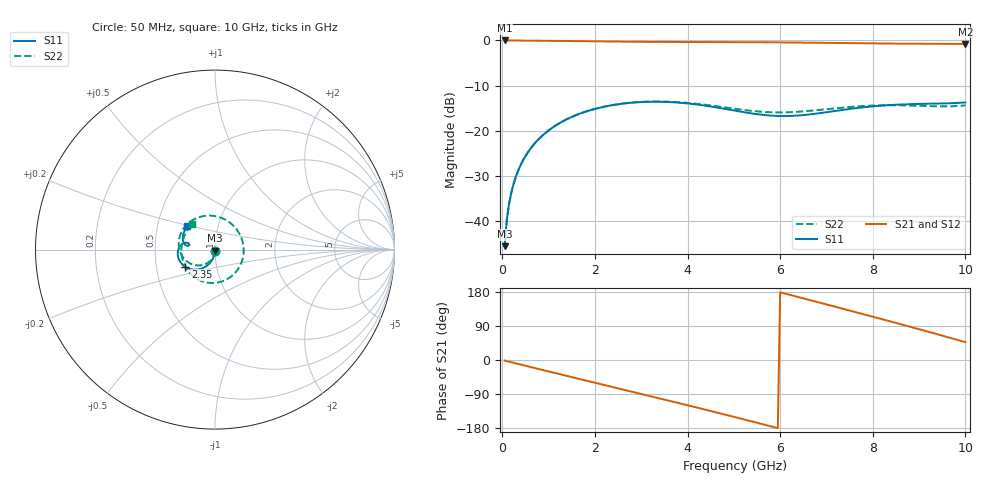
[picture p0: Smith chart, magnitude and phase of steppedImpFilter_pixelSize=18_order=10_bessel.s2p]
! freq	dB(S11)	phase(S11)	dB(S12)	phase(S12)
!  dB(S21)	phase(S21)	dB(S22)	phase(S22)
!S-par simulation data
#  GHz  S  DB  R 50
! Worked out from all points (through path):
!   200 points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, 50 MHz to 10 GHz, reference 50 ohm
!   highest |S21| = 0.00 dB at 50 MHz (marker M1); lowest = -0.8 dB at 10 GHz (marker M2)
!   group delay of S21, straight-line fit = 86.4 ps
!   lowest |S11| = -45.6 dB at 50 MHz (marker M3), VSWR 1.01, Z = 50 - j0.527 ohm
!   |S11| at or under -10 dB: start of sweep to end of sweep
!   |S22| runs from -45.4 to -13.5 dB; largest |S21 - S12| = 0
!   S11 on the Smith chart (normalised r, x): 50 MHz: 1.00, -0.01; 2.35 GHz: 0.70, -0.14; 10 GHz: 0.71, +0.20
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0.05  -45.56 -91.3  -0.00 -1.5  -0.00 -1.5  -45.44 -91.7
0.1  -39.51 -92.8  -0.01 -3.1  -0.01 -3.1  -39.46 -93.7
0.15  -35.98 -94.2  -0.01 -4.6  -0.01 -4.6  -35.96 -95.5
0.2  -33.48 -95.5  -0.01 -6.1  -0.01 -6.1  -33.48 -97.2
0.35  -28.65 -99.5  -0.02 -10.6  -0.02 -10.6  -28.67 -102.4
0.5  -25.61 -103.5  -0.03 -15.2  -0.03 -15.2  -25.63 -107.7
0.7  -22.79 -108.8  -0.05 -21.2  -0.05 -21.2  -22.81 -114.7
1  -19.92 -116.6  -0.08 -30.2  -0.08 -30.2  -19.93 -125.2
1.75  -15.93 -135.6  -0.17 -52.6  -0.17 -52.6  -15.93 -151.6
2.35  -14.38 -149.8  -0.24 -70.3  -0.24 -70.3  -14.36 -173.1
2.9  -13.70 -162.0  -0.29 -86.5  -0.29 -86.5  -13.67 166.5
3.4  -13.58 -172.3  -0.32 -101.4  -0.32 -101.4  -13.52 146.8
4.2  -14.19 174.2  -0.35 -125.4  -0.35 -125.4  -14.03 111.7
5.05  -15.59 166.6  -0.37 -151.5  -0.37 -151.5  -15.17 66.9
5.5  -16.33 166.5  -0.39 -165.5  -0.39 -165.5  -15.71 39.4
5.9  -16.70 168.4  -0.42 -178.2  -0.42 -178.2  -15.93 13.4
6.7  -16.31 172.2  -0.50 156.3  -0.50 156.3  -15.52 -37.8
7.55  -15.11 168.5  -0.61 128.9  -0.61 128.9  -14.68 -86.3
8.35  -14.31 159.1  -0.69 102.9  -0.69 102.9  -14.35 -128.6
9.15  -14.03 148.5  -0.74 76.2  -0.74 76.2  -14.53 -173.3
9.55  -13.95 143.9  -0.75 62.6  -0.75 62.6  -14.60 161.9
10  -13.73 139.5  -0.77 47.0  -0.77 47.0  -14.38 131.9
